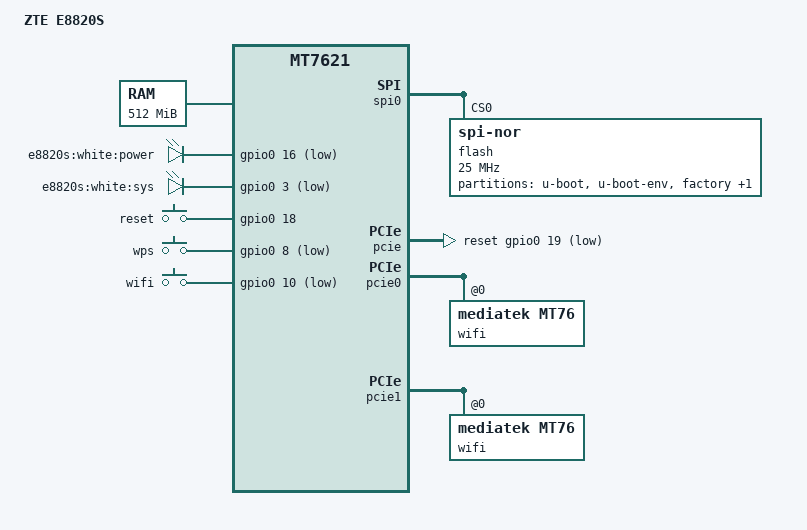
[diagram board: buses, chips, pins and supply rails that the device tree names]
/dts-v1/;

#include "mt7621.dtsi"

#include <dt-bindings/gpio/gpio.h>
#include <dt-bindings/input/input.h>

/ {
	compatible = "zte,e8820s", "mediatek,mt7621-soc";
	model = "ZTE E8820S";

	aliases {
		led-boot = &led_sys;
		led-failsafe = &led_sys;
		led-running = &led_power;
		led-upgrade = &led_power;
	};

	memory@0 {
		device_type = "memory";
		reg = <0x0 0x1c000000>, <0x20000000 0x04000000>;
	};

	chosen {
		bootargs = "console=ttyS0,115200";
	};

	leds {
		compatible = "gpio-leds";

		led_power: power {
			label = "e8820s:white:power";
			gpios = <&gpio0 16 GPIO_ACTIVE_LOW>;
		};

		led_sys: sys {
			label = "e8820s:white:sys";
			gpios = <&gpio0 3 GPIO_ACTIVE_LOW>;
		};
	};

	keys {
		compatible = "gpio-keys";

		reset {
			label = "reset";
			gpios = <&gpio0 18 GPIO_ACTIVE_HIGH>;
			linux,code = <KEY_RESTART>;
		};

		wps {
			label = "wps";
			gpios = <&gpio0 8 GPIO_ACTIVE_LOW>;
			linux,code = <KEY_WPS_BUTTON>;
		};

		wifi {
			label = "wifi";
			gpios = <&gpio0 10 GPIO_ACTIVE_LOW>;
			linux,code = <KEY_RFKILL>;
		};
	};
};

&spi0 {
	status = "okay";

	flash@0 {
		compatible = "jedec,spi-nor";
		reg = <0>;
		spi-max-frequency = <25000000>;
		m25p,fast-read;

		partitions {
			compatible = "fixed-partitions";
			#address-cells = <1>;
			#size-cells = <1>;

			partition@0 {
				label = "u-boot";
				reg = <0x0 0x30000>;
				read-only;
			};

			partition@30000 {
				label = "u-boot-env";
				reg = <0x30000 0x10000>;
				read-only;
			};

			factory: partition@40000 {
				label = "factory";
				reg = <0x40000 0x10000>;
				read-only;
			};

			partition@50000 {
				compatible = "denx,uimage";
				label = "firmware";
				reg = <0x50000 0x1fb0000>;
			};
		};
	};
};

&pcie {
	status = "okay";
	reset-gpios = <&gpio0 19 GPIO_ACTIVE_LOW>,
	              <&gpio0 4 GPIO_ACTIVE_LOW>;
};

&pcie0 {
	wifi@0,0 {
		compatible = "mediatek,mt76";
		reg = <0x0000 0 0 0 0>;
		mediatek,mtd-eeprom = <&factory 0x0000>;
		ieee80211-freq-limit = <2400000 2500000>;
		led {
			led-active-low;
		};
	};
};

&pcie1 {
	wifi@0,0 {
		compatible = "mediatek,mt76";
		reg = <0x0000 0 0 0 0>;
		mediatek,mtd-eeprom = <&factory 0x8000>;
		ieee80211-freq-limit = <5000000 6000000>;
		led {
			led-sources = <2>;
			led-active-low;
		};
	};
};

&ethernet {
	mtd-mac-address = <&factory 0xe000>;
        mediatek,portmap = "llllw";
};

&pinctrl {
          state_default: pinctrl0 {
	         gpio {
		           ralink,group = "jtag", "uart2", "uart3", "wdt";
		           ralink,function = "gpio";
	        };
        };
};
